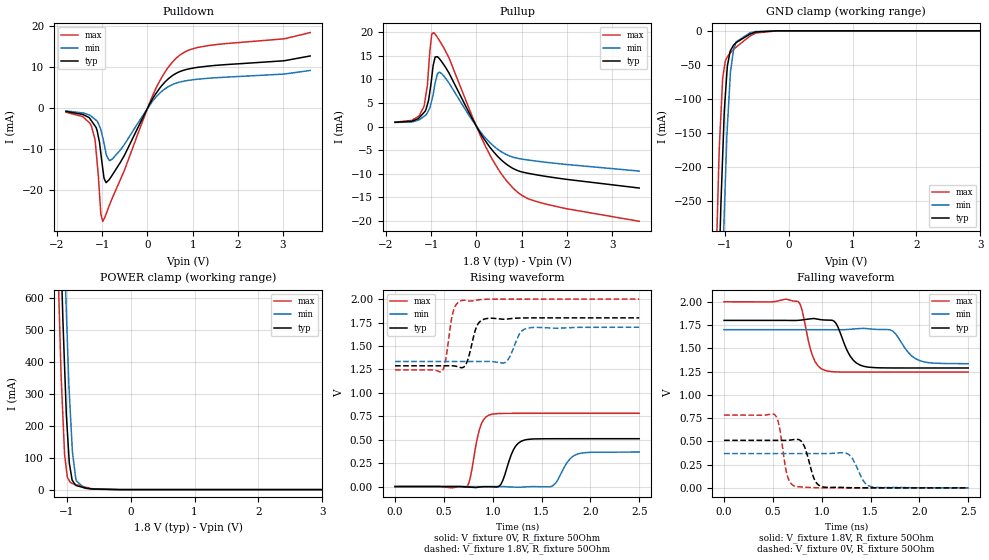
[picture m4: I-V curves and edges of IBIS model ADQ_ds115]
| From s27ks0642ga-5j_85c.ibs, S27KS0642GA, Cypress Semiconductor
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[Model]   ADQ_ds115
Model_type   I/O
Polarity   Non-Inverting
Enable   Active-High
Vinl = 0.54
Vinh = 1.26
Vmeas = 0.9
Vref = 0.9
Cref = 15pF
|   typ   min   max
C_comp   1.03pF   1.01pF   1.05pF
[Voltage Range]   1.8   1.7   2
[Temperature Range]   25   85   -40
[Pullup Reference]   1.8   1.7   2
[Pulldown Reference]   0   0   0
[Power Clamp Reference]   1.8   1.7   2
[GND Clamp Reference]   0   0   0
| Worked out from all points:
|   slope of the pulldown table from 0 to 0.27 V, typ, clamps not added: 55.2 ohm
|   slope of the pullup table from 0 to 0.27 V, typ, clamps not added: 66.3 ohm
|   falling waveform, V_fixture 1.8V, R_fixture 50Ohm: 20-80 % time 132ps typ, 159ps min, 104ps max; typ from 1.8 V to 1.29 V
|   rising waveform, V_fixture 0V, R_fixture 50Ohm: 20-80 % time 105ps typ, 124ps min, 87.9ps max; typ from 0 V to 0.511 V
|   rising waveform, V_fixture 1.8V, R_fixture 50Ohm: 20-80 % time 76.3ps typ, 88.1ps min, 65.5ps max; typ from 1.29 V to 1.8 V
|   falling waveform, V_fixture 0V, R_fixture 50Ohm: 20-80 % time 84.5ps typ, 103ps min, 69.8ps max; typ from 0.511 V to 0 V
[Pulldown]
|   Voltage   I(typ)   I(min)   I(max)
-1.8V     -786uA     -632.6uA   -977.6uA
-1.236V   -3.094mA   -1.994mA   -4.432mA
-1.158V   -4.335mA   -2.712mA   -7.709mA
-1.086V   -6.897mA   -3.678mA   -16.38mA
-1.03V    -11.04mA   -5.19mA    -25.79mA
-988mV    -14.73mA   -7.177mA   -27.6mA
-914.4mV  -18.15mA   -11.11mA   -25.82mA
-771.5mV  -16.2mA    -12.33mA   -21.78mA
154.8mV   3.056mA    2.303mA    4.063mA
650mV     8.609mA    6.193mA    12.36mA
1.118V    9.998mA    7.093mA    14.85mA
3.6V      12.77mA    9.225mA    18.48mA
[GND Clamp]
|   Voltage   I(typ)   I(min)   I(max)
-1.8V     -3.484A    -3.673A    -3.305A
-1.118V   -460mA     -653.4mA   -285.8mA
-1.083V   -336.1mA   -519.5mA   -169.5mA
-1.058V   -254.2mA   -434.3mA   -122.6mA
-1.03V    -180.8mA   -335.2mA   -68.59mA
-1.006V   -119.2mA   -268.2mA   -54.36mA
-965.3mV  -61.67mA   -153.7mA   -39.51mA
-957.6mV  -51.67mA   -140.8mA   -38.13mA
-909.2mV  -29.06mA   -60.09mA   -32.01mA
-858.2mV  -20.75mA   -25.88mA   -27.24mA
-608mV    -5.004mA   -3.133mA   -7.979mA
3.6V      0A         0A         0A
[Pullup]
|   Voltage   I(typ)   I(min)   I(max)
-1.8V     902.6uA    859uA      924.6uA
-1.432V   1.11mA     964.8uA    1.289mA
-1.158V   2.997mA    2.169mA    4.312mA
-1.086V   4.621mA    2.896mA    8.627mA
-988mV    10.46mA    5.573mA    19.64mA
-944.9mV  13.49mA    7.535mA    19.97mA
-858.2mV  14.81mA    11.29mA    18.88mA
-778mV    13.91mA    11.32mA    17.65mA
154.8mV   -2.458mA   -1.929mA   -3.316mA
813.6mV   -8.946mA   -6.545mA   -13.13mA
1.472V    -10.51mA   -7.531mA   -16.33mA
3.6V      -13.08mA   -9.475mA   -20.15mA
[POWER Clamp]
|   Voltage   I(typ)   I(min)   I(max)
-1.8V     6.849A     7.225A     6.488A
-1.136V   1.083A     1.493A     702.1mA
-1.118V   951.1mA    1.351A     580.4mA
-1.086V   723.1mA    1.107A     355.9mA
-1.058V   532.7mA    911.1mA    230.6mA
-1.031V   382.8mA    719.4mA    109.6mA
-1.004V   235.2mA    559.9mA    64.3mA
-965.3mV  106.9mA    330.5mA    30.57mA
-914.4mV  30.34mA    137.6mA    19.86mA
-844.6mV  12.32mA    26.82mA    14.91mA
-718.8mV  5.605mA    4.293mA    8.236mA
3.6V      0A         0A         0A
[Ramp]
R_load = 50
|   typ   min   max
dV/dt_r 3.0634E-01/1.0504E-10   2.2093E-01/1.2400E-10   4.6903E-01/8.7504E-11
dV/dt_f 3.0696E-01/1.3139E-10   2.1915E-01/1.5935E-10   4.5352E-01/1.0411E-10
[Falling Waveform]
V_fixture = 1.8V
V_fixture_min = 1.7V
V_fixture_max = 2V
R_fixture = 50Ohm
C_fixture = 0F
|   Time   V(typ)   V(min)   V(max)
0s        1.8V       1.7V       2V
755ps     1.8V       1.7V       2.004V
905ps     1.819V     1.7V       1.422V
1.03ns    1.804V     1.7V       1.264V
1.145ns   1.77V      1.699V     1.247V
1.29ns    1.417V     1.704V     1.244V
1.395ns   1.319V     1.713V     1.244V
1.725ns   1.289V     1.686V     1.244V
2.005ns   1.288V     1.367V     1.244V
2.5ns     1.288V     1.335V     1.244V
[Rising Waveform]
V_fixture = 0V
V_fixture_min = 0V
V_fixture_max = 0V
R_fixture = 50Ohm
C_fixture = 0F
|   Time   V(typ)   V(min)   V(max)
0s        0V         0V         0V
730ps     -3.82mV    0V         -5.048mV
880ps     -4.14mV    -20.21uV   658mV
985ps     -2.455mV   234.1uV    770.3mV
1.08ns    19.37mV    420.2uV    779.8mV
1.21ns    388.3mV    -5.668mV   781.3mV
1.325ns   496.3mV    -4.005mV   781.5mV
1.61ns    510.2mV    4.775mV    781.7mV
1.88ns    510.5mV    350.5mV    781.7mV
2.5ns     510.6mV    368.2mV    781.7mV
[Rising Waveform]
V_fixture = 1.8V
V_fixture_min = 1.7V
V_fixture_max = 2V
R_fixture = 50Ohm
C_fixture = 0F
|   Time   V(typ)   V(min)   V(max)
0s        1.288V     1.335V     1.244V
480ps     1.288V     1.335V     1.229V
590ps     1.289V     1.335V     1.847V
675ps     1.269V     1.335V     1.983V
730ps     1.312V     1.335V     1.984V
840ps     1.718V     1.335V     1.99V
920ps     1.789V     1.335V     1.998V
1.14ns    1.787V     1.334V     2V
1.355ns   1.8V       1.69V      2V
2.5ns     1.8V       1.7V       2V
[Falling Waveform]
|Gnd
V_fixture = 0V
V_fixture_min = 0V
V_fixture_max = 0V
R_fixture = 50Ohm
C_fixture = 0F
|   Time   V(typ)   V(min)   V(max)
0s        510.6mV    368.3mV    781.7mV
520ps     510.6mV    368.3mV    785.4mV
565ps     510.6mV    368.3mV    660.6mV
650ps     510.8mV    368.3mV    122.6mV
730ps     521.5mV    368.3mV    15.11mV
805ps     482mV      368.3mV    9.09mV
1.02ns    8.704mV    368.2mV    253.8uV
1.27ns    2.376mV    363.2mV    -801.8nV
1.51ns    68.56uV    11.11mV    -1.259uV
2.5ns     -651.7nV   -1.507uV   0V
